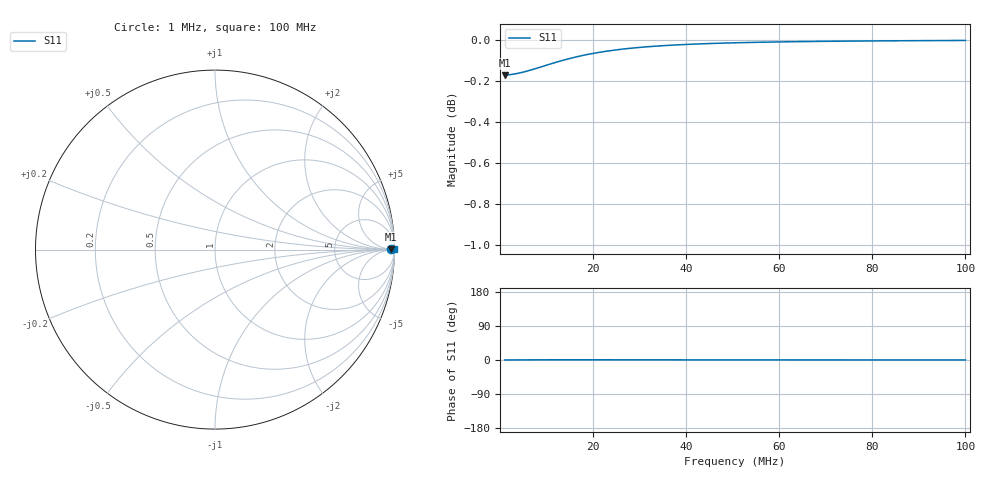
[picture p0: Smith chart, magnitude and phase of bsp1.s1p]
! AWR Design Environment (7670) Wed Feb 10 08:19:31 2016
! Document = 'bsp1'
! nPorts: 1, nXvals: 101
# HZ Z RI R 1
!Freq ReZ11 ImZ11
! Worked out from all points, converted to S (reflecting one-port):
!   100 points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, 1 MHz to 100 MHz, reference 1 ohm
!   lowest |S11| = -0.2 dB at 1 MHz (marker M1), VSWR 100.39, Z = 100 + j6.28 ohm
!   phase of S11 starts at 0 deg and turns +0 deg over the sweep
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1000000  100 6.283
2000000  100 12.57
3000000  100 18.85
4000000  100 25.13
5000000  100 31.42
6000000  100 37.7
7000000  100 43.98
8000000  100 50.27
9000000  100 56.55
1e7  100 62.83
1.1e7  100 69.12
1.2e7  100 75.4
1.4e7  100 87.96
1.5e7  100 94.25
1.7e7  100 106.8
2e7  100 125.7
2.3e7  100 144.5
2.6e7  100 163.4
2.9e7  100 182.2
3.2e7  100 201.1
3.5e7  100 219.9
3.9e7  100 245
4.5e7  100 282.7
5.1e7  100 320.4
6.3e7  100 395.8
7.6e7  100 477.5
8.8e7  100 552.9
1e8  100 628.3
